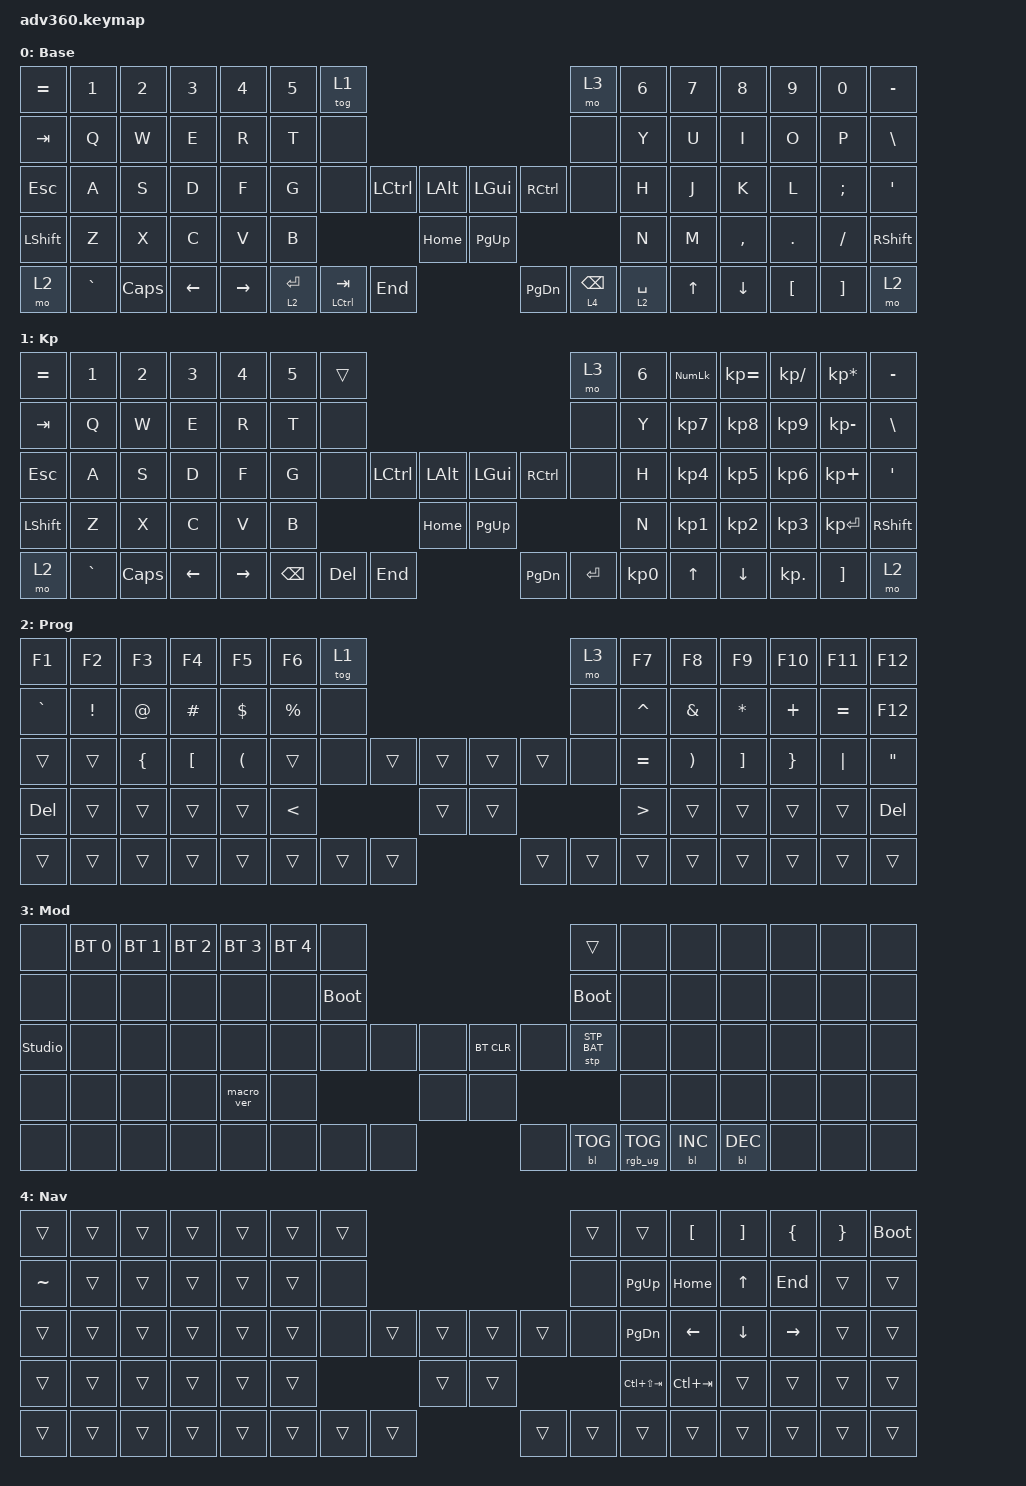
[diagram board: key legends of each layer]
#include <dt-bindings/zmk/stp.h>
#include <behaviors.dtsi>
#include <dt-bindings/zmk/backlight.h>
#include <dt-bindings/zmk/bt.h>
#include <dt-bindings/zmk/keys.h>
#include <dt-bindings/zmk/rgb.h>

/ {
    behaviors {
        #include "macros.dtsi"
      #include "version.dtsi"

        hm: homerow_mods {
            compatible = "zmk,behavior-hold-tap";
            label = "HOMEROW_MODS";
            #binding-cells = <2>;
            tapping-term-ms = <200>;
            quick_tap_ms = <175>;
            flavor = "tap-preferred";
            bindings = <&kp>, <&kp>;
        };
    };

    keymap {
        compatible = "zmk,keymap";

        default_layer {
            display-name = "Base";
            bindings = <
&kp EQUAL  &kp N1     &kp N2    &kp N3    &kp N4     &kp N5  &tog 1                                                              &mo 3      &kp N6  &kp N7  &kp N8     &kp N9    &kp N0    &kp MINUS
&kp TAB    &kp Q      &kp W     &kp E     &kp R      &kp T   &none                                                               &none      &kp Y   &kp U   &kp I      &kp O     &kp P     &kp BSLH
&kp ESC    &kp A      &kp S     &kp D     &kp F      &kp G   &none        &kp LCTRL      &kp LALT      &kp LGUI   &kp RCTRL      &none      &kp H   &kp J   &kp K      &kp L     &kp SEMI  &kp SQT
&kp LSHFT  &kp Z      &kp X     &kp C     &kp V      &kp B                               &kp HOME      &kp PG_UP                            &kp N   &kp M   &kp COMMA  &kp DOT   &kp FSLH  &kp RSHFT
&mo 2      &kp GRAVE  &kp CAPS  &kp LEFT  &kp RIGHT          &lt 2 ENTER  &hm LCTRL TAB  &kp END       &kp PG_DN  &lt 4 BACKSPACE  &lt 2 SPACE        &kp UP  &kp DOWN   &kp LBKT  &kp RBKT  &mo 2
            >;
        };

        keypad {
            display-name = "Kp";
            bindings = <
&kp EQUAL  &kp N1     &kp N2    &kp N3    &kp N4     &kp N5  &trans                                                   &mo 3      &kp N6  &kp KP_NUM  &kp KP_EQUAL  &kp KP_DIVIDE  &kp KP_MULTIPLY  &kp MINUS
&kp TAB    &kp Q      &kp W     &kp E     &kp R      &kp T   &none                                                    &none      &kp Y   &kp KP_N7   &kp KP_N8     &kp KP_N9      &kp KP_MINUS     &kp BSLH
&kp ESC    &kp A      &kp S     &kp D     &kp F      &kp G   &none     &kp LCTRL  &kp LALT      &kp LGUI   &kp RCTRL  &none      &kp H   &kp KP_N4   &kp KP_N5     &kp KP_N6      &kp KP_PLUS      &kp SQT
&kp LSHFT  &kp Z      &kp X     &kp C     &kp V      &kp B                        &kp HOME      &kp PG_UP                        &kp N   &kp KP_N1   &kp KP_N2     &kp KP_N3      &kp KP_ENTER     &kp RSHFT
&mo 2      &kp GRAVE  &kp CAPS  &kp LEFT  &kp RIGHT          &kp BSPC  &kp DEL    &kp END       &kp PG_DN  &kp ENTER  &kp KP_N0          &kp UP      &kp DOWN      &kp KP_DOT     &kp RBKT         &mo 2
            >;
        };

        fn {
            display-name = "Prog";
            bindings = <
&kp F1           &kp F2          &kp F3         &kp F4          &kp F5          &kp F6          &tog 1                                                              &mo 3           &kp F7          &kp F8          &kp F9          &kp F10         &kp F11         &kp F12
&kp GRAVE        &kp EXCL        &kp AT         &kp HASH        &kp DOLLAR      &kp PRCNT       &none                                                               &none           &kp CARET       &kp AMPS        &kp ASTERISK    &kp PLUS        &kp EQUAL       &kp F12
&trans           &trans          &kp LBRC       &kp LBKT        &kp LPAR        &trans          &none        &trans          &trans          &trans          &trans          &none           &kp EQUAL       &kp RPAR        &kp RBKT        &kp RBRC        &kp PIPE        &kp DQT
&kp DEL          &trans          &trans         &trans          &trans          &kp LESS_THAN                                   &trans          &trans                                          &kp GREATER_THAN &trans          &trans          &trans          &trans          &kp DEL
&trans           &trans          &trans         &trans          &trans                          &trans       &trans          &trans          &trans          &trans          &trans                          &trans          &trans          &trans          &trans          &trans
            >;
        };

        mod {
            display-name = "Mod";
            bindings = <
&none           &bt BT_SEL 0  &bt BT_SEL 1  &bt BT_SEL 2  &bt BT_SEL 3  &bt BT_SEL 4  &none                                                  &trans           &none  &none       &none       &none  &none  &none
&none           &none         &none         &none         &none         &none         &bootloader                                            &bootloader      &none  &none       &none       &none  &none  &none
&studio_unlock  &none         &none         &none         &none         &none         &none        &none  &none      &bt BT_CLR  &none       &stp STP_BAT     &none  &none       &none       &none  &none  &none
&none           &none         &none         &none         &macro_ver    &none                             &none      &none                                    &none  &none       &none       &none  &none  &none
&none           &none         &none         &none         &none                       &none        &none  &none      &none       &bl BL_TOG  &rgb_ug RGB_TOG         &bl BL_INC  &bl BL_DEC  &none  &none  &none
            >;
        };

        extra1 {
            display-name = "Nav";
            bindings = <
&trans           &trans          &trans         &trans          &trans          &trans          &trans                                                              &trans          &trans          &kp LBKT        &kp RBKT        &kp LBRC        &kp RBRC        &bootloader
&kp TILDE        &trans          &trans         &trans          &trans          &trans          &none                                                               &none           &kp PG_UP       &kp HOME        &kp UP          &kp END         &trans          &trans
&trans           &trans          &trans         &trans          &trans          &trans          &none        &trans          &trans          &trans          &trans          &none           &kp PG_DN       &kp LEFT        &kp DOWN        &kp RIGHT       &trans          &trans
&trans           &trans          &trans         &trans          &trans          &trans                                          &trans          &trans                                          &kp LC(LS(TAB)) &kp LC(TAB)     &trans          &trans          &trans          &trans
&trans           &trans          &trans         &trans          &trans                          &trans       &trans          &trans          &trans          &trans          &trans                          &trans          &trans          &trans          &trans          &trans
            >;
        };

        extra2 {
            display-name = "Purple";
            status = "reserved";
        };

        extra3 {
            display-name = "Cyan";
            status = "reserved";
        };

        extra4 {
            display-name = "Yellow";
            status = "reserved";
        };
    };
};
